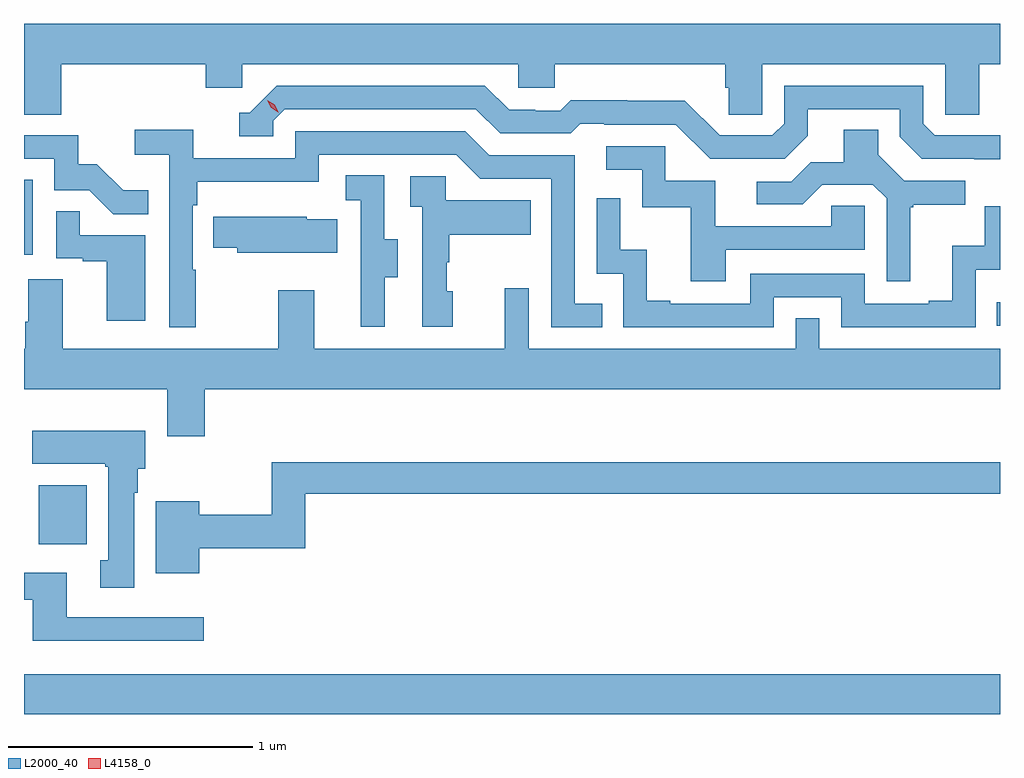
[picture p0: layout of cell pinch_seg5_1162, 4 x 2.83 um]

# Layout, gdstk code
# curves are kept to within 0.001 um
import gdstk
lib = gdstk.Library(unit=1e-6, precision=1e-09)
def R(c, l, rs):  # rectangles x0, y0, x1, y1
    for r in rs: c.add(gdstk.rectangle(r[:2], r[2:], *l))
def P(c, l, *ps):  # polygons
    for p in ps: c.add(gdstk.Polygon(p, *l))
L2000_40 = (2000, 40)
L4158_0 = (4158, 0)

pinch_seg5_1162 = lib.new_cell('pinch_seg5_1162')
R(pinch_seg5_1162, L2000_40, [(862.085,844.772,866.085,844.936), (862.145,845.468,862.342,845.71), (866.071,846.363,866.085,846.46), (862.085,846.654,862.12,846.961)])
P(pinch_seg5_1162, L2000_40, [(862.238,847.436),(862.829,847.436),(862.829,847.338),(862.98,847.338),(862.98,847.436),(864.111,847.436),(864.111,847.338),(864.261,847.338),(864.261,847.436),(864.959,847.436),(864.959,847.338),(864.973,847.338),(864.973,847.228),(865.11,847.228),(865.11,847.436),(865.86,847.436),(865.86,847.228),(865.999,847.228),(865.999,847.436),(866.085,847.436),(866.085,847.6),(862.085,847.6),(862.085,847.228),(862.238,847.228)],
  [(866.085,847.143),(865.818,847.143),(865.77,847.191),(865.77,847.347),(865.2,847.347),(865.2,847.191),(865.152,847.143),(864.936,847.143),(864.794,847.285),(864.558,847.285),(864.558,847.288),(864.325,847.288),(864.283,847.245),(864.18,847.245),(864.18,847.248),(864.073,847.248),(863.974,847.347),(863.121,847.347),(863.01,847.236),(862.967,847.236),(862.967,847.14),(863.106,847.14),(863.106,847.203),(863.154,847.251),(863.937,847.251),(864.036,847.152),(864.325,847.152),(864.364,847.191),(864.463,847.191),(864.463,847.188),(864.756,847.188),(864.897,847.047),(865.203,847.047),(865.297,847.141),(865.297,847.251),(865.674,847.251),(865.674,847.137),(865.764,847.047),(866.085,847.046)],
  [(865.717,846.849),(865.729,846.849),(865.729,846.86),(865.942,846.86),(865.942,846.957),(865.692,846.957),(865.585,847.064),(865.585,847.166),(865.445,847.166),(865.445,847.034),(865.31,847.034),(865.23,846.954),(865.089,846.954),(865.089,846.861),(865.276,846.861),(865.357,846.942),(865.563,846.942),(865.62,846.885),(865.62,846.546),(865.717,846.546)],
  [(862.789,846.593),(862.776,846.593),(862.776,846.857),(862.795,846.857),(862.795,846.953),(863.292,846.953),(863.292,847.065),(863.856,847.065),(863.955,846.966),(864.246,846.966),(864.246,846.357),(864.455,846.357),(864.455,846.453),(864.342,846.453),(864.342,847.062),(863.992,847.062),(863.893,847.161),(863.196,847.161),(863.196,847.05),(862.778,847.05),(862.778,847.166),(862.539,847.166),(862.539,847.064),(862.68,847.064),(862.68,846.357),(862.789,846.357)],
  [(862.595,846.919),(862.491,846.919),(862.384,847.026),(862.308,847.026),(862.308,847.143),(862.085,847.143),(862.085,847.047),(862.209,847.047),(862.209,846.918),(862.353,846.918),(862.451,846.82),(862.595,846.82)],
  [(864.961,846.675),(865.53,846.675),(865.53,846.855),(865.393,846.855),(865.393,846.771),(864.919,846.771),(864.919,846.957),(864.714,846.957),(864.714,847.098),(864.471,847.098),(864.471,847.002),(864.618,847.002),(864.618,846.849),(864.817,846.849),(864.817,846.546),(864.961,846.546)],
  [(863.563,846.562),(863.617,846.562),(863.617,846.717),(863.562,846.717),(863.562,846.98),(863.403,846.98),(863.403,846.877),(863.466,846.877),(863.466,846.573),(863.465,846.573),(863.465,846.36),(863.563,846.36)],
  [(863.842,846.504),(863.817,846.504),(863.817,846.623),(863.827,846.623),(863.827,846.737),(864.161,846.737),(864.161,846.877),(863.814,846.877),(863.814,846.975),(863.667,846.975),(863.667,846.851),(863.718,846.851),(863.718,846.36),(863.842,846.36)],
  [(865.158,846.48),(865.434,846.48),(865.434,846.357),(865.986,846.357),(865.986,846.593),(866.085,846.593),(866.085,846.852),(866.022,846.852),(866.022,846.691),(865.889,846.691),(865.889,846.466),(865.793,846.466),(865.793,846.453),(865.53,846.453),(865.53,846.576),(865.062,846.576),(865.062,846.453),(864.733,846.453),(864.733,846.466),(864.638,846.466),(864.638,846.674),(864.528,846.674),(864.528,846.886),(864.432,846.886),(864.432,846.576),(864.54,846.576),(864.54,846.357),(865.158,846.357)],
  [(862.582,846.735),(862.313,846.735),(862.313,846.833),(862.218,846.833),(862.218,846.639),(862.325,846.639),(862.325,846.627),(862.424,846.627),(862.424,846.384),(862.582,846.384)],
  [(863.369,846.799),(863.244,846.799),(863.244,846.811),(862.861,846.811),(862.861,846.682),(862.959,846.682),(862.959,846.662),(863.369,846.662)],
  [(862.826,846.104),(866.085,846.104),(866.085,846.268),(865.344,846.268),(865.344,846.395),(865.248,846.395),(865.248,846.268),(864.153,846.268),(864.153,846.517),(864.056,846.517),(864.056,846.268),(863.275,846.268),(863.275,846.508),(863.128,846.508),(863.128,846.268),(862.243,846.268),(862.243,846.554),(862.103,846.554),(862.103,846.38),(862.091,846.38),(862.091,846.268),(862.085,846.268),(862.085,846.104),(862.673,846.104),(862.673,845.91),(862.826,845.91)],
  [(862.537,845.678),(862.552,845.678),(862.552,845.778),(862.582,845.778),(862.582,845.932),(862.118,845.932),(862.118,845.798),(862.417,845.798),(862.417,845.785),(862.43,845.785),(862.43,845.402),(862.397,845.402),(862.397,845.289),(862.537,845.289)],
  [(862.804,845.452),(863.237,845.452),(863.237,845.674),(866.085,845.674),(866.085,845.803),(863.101,845.803),(863.101,845.588),(862.804,845.588),(862.804,845.644),(862.625,845.644),(862.625,845.348),(862.804,845.348)],
  [(862.822,845.169),(862.261,845.169),(862.261,845.35),(862.085,845.35),(862.085,845.241),(862.121,845.241),(862.121,845.072),(862.822,845.072)])
P(pinch_seg5_1162, L4158_0, [(863.129,847.236),(863.098,847.256),(863.082,847.288),(863.082,847.288),(863.082,847.288),(863.113,847.269),(863.129,847.237),(863.129,847.236)])

lib.write_gds('pinch_seg5_1162.gds')
